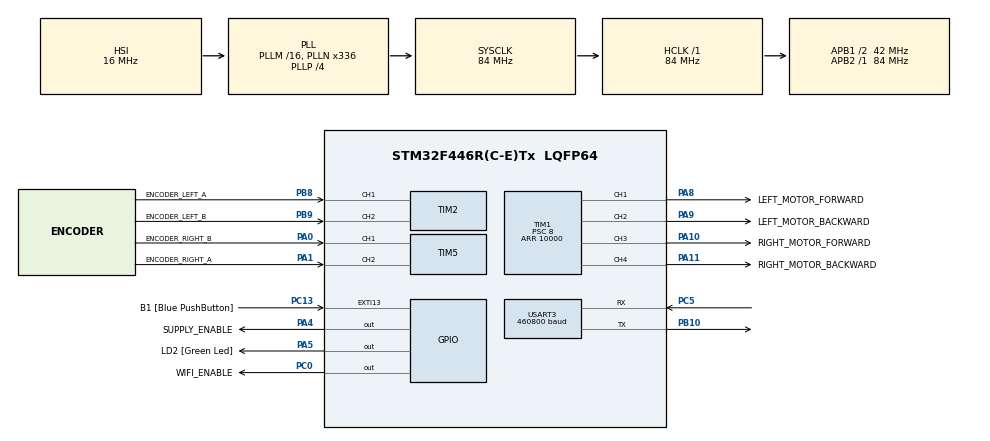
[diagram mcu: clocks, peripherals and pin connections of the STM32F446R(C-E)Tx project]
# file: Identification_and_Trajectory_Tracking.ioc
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Mcu.Family=STM32F4
Mcu.Name=STM32F446R(C-E)Tx
Mcu.Package=LQFP64
NVIC.PriorityGroup=NVIC_PRIORITYGROUP_4
NVIC.TIM3_IRQn=true\:0\:0\:false\:false\:true\:true\:true
PA0-WKUP.GPIO_Label=ENCODER_RIGHT_B
PA0-WKUP.Signal=S_TIM5_CH1
PA1.GPIO_Label=ENCODER_RIGHT_A
PA1.Signal=S_TIM5_CH2
PA10.GPIO_Label=RIGHT_MOTOR_FORWARD
PA10.Signal=S_TIM1_CH3
PA11.GPIO_Label=RIGHT_MOTOR_BACKWARD
PA11.Signal=S_TIM1_CH4
PA13.GPIO_Label=TMS
PA13.Mode=Serial_Wire
PA13.Signal=SYS_JTMS-SWDIO
PA14.GPIO_Label=TCK
PA14.Mode=Serial_Wire
PA14.Signal=SYS_JTCK-SWCLK
PA15.Signal=UART4_RTS
PA2.GPIO_Label=USART_TX
PA2.Signal=USART2_TX
PA3.GPIO_Label=USART_RX
PA3.Signal=USART2_RX
PA4.GPIO_Label=SUPPLY_ENABLE
PA4.GPIO_PuPd=GPIO_NOPULL
PA4.Signal=GPIO_Output
PA5.GPIO_Label=LD2 [Green Led]
PA5.Signal=GPIO_Output
PA8.GPIO_Label=LEFT_MOTOR_FORWARD
PA8.Signal=S_TIM1_CH1
PA9.GPIO_Label=LEFT_MOTOR_BACKWARD
PA9.Signal=S_TIM1_CH2
PB10.Mode=Asynchronous
PB10.Signal=USART3_TX
PB3.GPIO_Label=SWO
PB3.Signal=SYS_JTDO-SWO
PB8.GPIO_Label=ENCODER_LEFT_A
PB8.Signal=S_TIM2_CH1_ETR
PB9.GPIO_Label=ENCODER_LEFT_B
PB9.Signal=S_TIM2_CH2
PC0.GPIO_Label=WIFI_ENABLE
PC0.Signal=GPIO_Output
PC13.GPIO_Label=B1 [Blue PushButton]
PC13.GPIO_ModeDefaultEXTI=GPIO_MODE_IT_FALLING
PC13.Signal=GPXTI13
PC14-OSC32_IN.Mode=LSE-External-Oscillator
PC14-OSC32_IN.Signal=RCC_OSC32_IN
PC15-OSC32_OUT.Mode=LSE-External-Oscillator
PC15-OSC32_OUT.Signal=RCC_OSC32_OUT
PC5.Mode=Asynchronous
PC5.Signal=USART3_RX
PH0-OSC_IN.Mode=HSE-External-Oscillator
PH0-OSC_IN.Signal=RCC_OSC_IN
PH1-OSC_OUT.Mode=HSE-External-Oscillator
PH1-OSC_OUT.Signal=RCC_OSC_OUT
ProjectManager.HeapSize=0x200
ProjectManager.StackSize=0x400
ProjectManager.TargetToolchain=STM32CubeIDE
RCC.48MHZClocksFreq_Value=84000000
RCC.AHBFreq_Value=84000000
RCC.APB1CLKDivider=RCC_HCLK_DIV2
RCC.APB1Freq_Value=42000000
RCC.APB1TimFreq_Value=84000000
RCC.APB2Freq_Value=84000000
RCC.APB2TimFreq_Value=84000000
RCC.CortexFreq_Value=84000000
RCC.FLatency-AdvancedSettings=FLASH_LATENCY_2
RCC.HCLKFreq_Value=84000000
RCC.HSE_VALUE=8000000
RCC.HSI_VALUE=16000000
RCC.PLLN=336
RCC.PLLP=RCC_PLLP_DIV4
RCC.SYSCLKFreq_VALUE=84000000
RCC.SYSCLKSource=RCC_SYSCLKSOURCE_PLLCLK
RCC.USBFreq_Value=168000000
RCC.VCOOutputFreq_Value=336000000
SH.S_TIM1_CH1.0=TIM1_CH1,PWM Generation1 CH1
SH.S_TIM1_CH2.0=TIM1_CH2,PWM Generation2 CH2
SH.S_TIM1_CH3.0=TIM1_CH3,PWM Generation3 CH3
SH.S_TIM1_CH4.0=TIM1_CH4,PWM Generation4 CH4
SH.S_TIM2_CH1_ETR.0=TIM2_CH1,Encoder_Interface
SH.S_TIM2_CH2.0=TIM2_CH2,Encoder_Interface
SH.S_TIM5_CH1.0=TIM5_CH1,Encoder_Interface
SH.S_TIM5_CH2.0=TIM5_CH2,Encoder_Interface
TIM1.Channel-PWM\ Generation1\ CH1=TIM_CHANNEL_1
TIM1.Channel-PWM\ Generation2\ CH2=TIM_CHANNEL_2
TIM1.Channel-PWM\ Generation3\ CH3=TIM_CHANNEL_3
TIM1.Channel-PWM\ Generation4\ CH4=TIM_CHANNEL_4
TIM1.Period=10000
TIM1.Prescaler=8
TIM2.EncoderMode=TIM_ENCODERMODE_TI1
TIM2.IC1Filter=15
TIM2.IC2Filter=15
TIM3.Period=1000-1
TIM3.Prescaler=840-1
TIM5.EncoderMode=TIM_ENCODERMODE_TI1
TIM5.IC1Filter=15
TIM5.IC2Filter=15
USART3.BaudRate=460800
USART3.VirtualMode=VM_ASYNC
VP_TIM3_VS_ClockSourceINT.Mode=Internal
board=NUCLEO-F446RE

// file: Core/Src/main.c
/* USER CODE BEGIN Header */
/**
  ******************************************************************************
  * @file           : main.c
  * @brief          : Main program body
  ******************************************************************************
  * @attention
  *
  * <h2><center>&copy; Copyright (c) 2021 STMicroelectronics.
  * All rights reserved.</center></h2>
  *
  * This software component is licensed by ST under BSD 3-Clause license,
  * the "License"; You may not use this file except in compliance with the
  * License. You may obtain a copy of the License at:
  *                        opensource.org/licenses/BSD-3-Clause
  *
  ******************************************************************************
  */
/* USER CODE END Header */
#include "main.h"

/* USER CODE BEGIN Includes */

#include "my_lib/differential_drive.h"
#include "my_lib/datastream.h"

#include "my_data/control_parameters.h"
#include "my_data/diffdrive_parameters.h"
#include "my_data/idinput.h"
#include "my_data/reference.h"

#include <stdio.h>
#include <stdlib.h>

/* USER CODE END Includes */

/* USER CODE BEGIN PD */

/* ---------------------------------------------------------------------------*/

/* USER CODE END PD */

TIM_HandleTypeDef htim1;
TIM_HandleTypeDef htim2;
TIM_HandleTypeDef htim3;
TIM_HandleTypeDef htim5;

UART_HandleTypeDef huart3;

/* USER CODE BEGIN PV */

// Handles

DIFFDRIVE_HandleTypeDef hdiffdrive;
DATASTREAM_HandleTypeDef hstream;

/* USER CODE END PV */

void SystemClock_Config(void);
static void MX_GPIO_Init(void);
static void MX_TIM2_Init(void);
static void MX_TIM1_Init(void);
static void MX_TIM3_Init(void);
static void MX_TIM5_Init(void);
static void MX_USART3_UART_Init(void);
/* USER CODE BEGIN PFP */

static void MAIN_DATASTREAM_Init(void);
static void MAIN_DIFFDRIVE_Init(void);

/* USER CODE END PFP */

int main(void)
{

  /* MCU Configuration--------------------------------------------------------*/

  /* Reset of all peripherals, Initializes the Flash interface and the Systick. */
  HAL_Init();

  /* Configure the system clock */
  SystemClock_Config();

  /* Initialize all configured peripherals */
  MX_GPIO_Init();
  MX_TIM2_Init();
  MX_TIM1_Init();
  MX_TIM3_Init();
  MX_TIM5_Init();
  MX_USART3_UART_Init();
  /* USER CODE BEGIN 2 */

  MAIN_DATASTREAM_Init();
  MAIN_DIFFDRIVE_Init();

  // HAL_TIM_Base_Start_IT(&htim3);

  /* USER CODE END 2 */

  /* Infinite loop */
  /* USER CODE BEGIN WHILE */

  // Wait until the blue button is pressed
  while( HAL_GPIO_ReadPin(B1_GPIO_Port, B1_Pin) )
	  __NOP();

  // Enabling motion
  bool motion_flag= true;

  HAL_Delay(1000);

  while (1)
  {

	  if( motion_flag ){

#ifdef TRAJECTORY_TRACKING

		  // Start control
		  DIFFDRIVE_TrackingStart();
		  // Tracking a target trajectory (Array of N sample)
		  DIFFDRIVE_TrackingArray(N_SAMPLE_REF, V_REF, OM_REF);
		  // Stop differential drive
		  DIFFDRIVE_TrackingStop();

#else
#ifdef IDENTIFICATION

			// Declaring array of float' pointers
			float *input[2];

#ifdef SMOOTH_INPUT

			// Assigning signals
			input[left] = SMOOTH_INPUT_L;
			input[right] = SMOOTH_INPUT_R;

#else
#ifdef TRIANGLE_INPUT

			// Assigning signals
			input[left] = TRANGLE_INPUT_L;
			input[right] = TRANGLE_INPUT_R;

#endif /*  SMOOTH_INPUT  */
#endif /* TRIANGLE_INPUT */

			// Move differential drive
			DIFFDRIVE_InputArray(N_SAMPLE_ID, input);

#endif /*   IDENTIFICATION  	  */
#endif /* TRAJECTORY_TRACKING */

		// Stop motion
		motion_flag= false;

	} // Motion disabled to send data
	else{

		// Start sending values Task if blue button is pressed
		if( !HAL_GPIO_ReadPin(B1_GPIO_Port, B1_Pin) ){

			// Enable WIFI to send/receive values
			HAL_GPIO_WritePin(WIFI_ENABLE_GPIO_Port, WIFI_ENABLE_Pin, GPIO_PIN_SET);

			// Wait for ESP boot
			HAL_Delay(3000);

			// Rapidly flash led to show MCU ready to send values
			for(int i=0; i<20; i++){
				HAL_GPIO_TogglePin(LD2_GPIO_Port, LD2_Pin);
				HAL_Delay(50);
			}

			// Wait for 10 received chars
			char ch[10];
			HAL_UART_Receive(&huart3, (uint8_t*) ch, sizeof(ch), HAL_MAX_DELAY);

			// LED on
			HAL_GPIO_WritePin(LD2_GPIO_Port, LD2_Pin, GPIO_PIN_SET);

			// Wait a bit more
			HAL_Delay(3000);

			// LED off
			HAL_GPIO_WritePin(LD2_GPIO_Port, LD2_Pin, GPIO_PIN_RESET);

			// History struct
			DIFFDRIVE_HISTORY_TypeDef tmphist= hdiffdrive.history;

			// Number of saved samples
			int N_sample;
			if( tmphist.sample_cnt < tmphist.max_sample )
				N_sample=  tmphist.sample_cnt;
			else
				N_sample=  tmphist.max_sample;

			// First values send is the actual number of samples
			DATASTREAM_Print(&hstream, int_csv, 1, N_sample);
			// Bit of transfer delay
			HAL_Delay(8);

			// Init History Get function
			DIFFDRIVE_HISTORY_Get_Init();

			for(int k= 0; k < N_sample; k++){
				// Temporary variables
				DIFFDRIVE_STATE_TypeDef state_measure, state_target;

				// Get one state sample from history
				DIFFDRIVE_HISTORY_Get_Sample(&state_measure, &state_target);

				// Send values to serial connected to ESP WiFi module
				DATASTREAM_Print(
						&hstream, float_csv, 18,
						state_measure.input[left], state_measure.input[right],
						state_target .input[left], state_target .input[right],
						state_measure.wheel[left], state_measure.wheel[right],
						state_target .wheel[left], state_target .wheel[right],
						state_measure.pose.x_a,    state_measure.pose.y_a,
						state_measure.pose.theta,  state_measure.pose.v,
						state_measure.pose.om,
                        state_target .pose.x_a,    state_target.pose.y_a,
						state_target .pose.theta,  state_target.pose.v,
						state_target .pose.om
				);
				// Bit of transfer delay
				HAL_Delay(8);
				// Toggling led to show data transfer operation
				if( !(k%50) )
					HAL_GPIO_TogglePin(LD2_GPIO_Port, LD2_Pin);
			}

			// Turn off LED
			HAL_GPIO_WritePin(LD2_GPIO_Port, LD2_Pin, GPIO_PIN_RESET);

			// Disable WiFi
			HAL_GPIO_WritePin(WIFI_ENABLE_GPIO_Port, WIFI_ENABLE_Pin, GPIO_PIN_RESET);

		}
	}

    /* USER CODE END WHILE */

  }
}

void SystemClock_Config(void)
{
  RCC_OscInitTypeDef RCC_OscInitStruct = {0};
  RCC_ClkInitTypeDef RCC_ClkInitStruct = {0};

  /** Configure the main internal regulator output voltage
  */
  __HAL_RCC_PWR_CLK_ENABLE();
  __HAL_PWR_VOLTAGESCALING_CONFIG(PWR_REGULATOR_VOLTAGE_SCALE3);
  /** Initializes the RCC Oscillators according to the specified parameters
  * in the RCC_OscInitTypeDef structure.
  */
  RCC_OscInitStruct.OscillatorType = RCC_OSCILLATORTYPE_HSI;
  RCC_OscInitStruct.HSIState = RCC_HSI_ON;
  RCC_OscInitStruct.HSICalibrationValue = RCC_HSICALIBRATION_DEFAULT;
  RCC_OscInitStruct.PLL.PLLState = RCC_PLL_ON;
  RCC_OscInitStruct.PLL.PLLSource = RCC_PLLSOURCE_HSI;
  RCC_OscInitStruct.PLL.PLLM = 16;
  RCC_OscInitStruct.PLL.PLLN = 336;
  RCC_OscInitStruct.PLL.PLLP = RCC_PLLP_DIV4;
  RCC_OscInitStruct.PLL.PLLQ = 2;
  RCC_OscInitStruct.PLL.PLLR = 2;
  if (HAL_RCC_OscConfig(&RCC_OscInitStruct) != HAL_OK)
  {
    Error_Handler();
  }
  /** Initializes the CPU, AHB and APB buses clocks
  */
  RCC_ClkInitStruct.ClockType = RCC_CLOCKTYPE_HCLK|RCC_CLOCKTYPE_SYSCLK
                              |RCC_CLOCKTYPE_PCLK1|RCC_CLOCKTYPE_PCLK2;
  RCC_ClkInitStruct.SYSCLKSource = RCC_SYSCLKSOURCE_PLLCLK;
  RCC_ClkInitStruct.AHBCLKDivider = RCC_SYSCLK_DIV1;
  RCC_ClkInitStruct.APB1CLKDivider = RCC_HCLK_DIV2;
  RCC_ClkInitStruct.APB2CLKDivider = RCC_HCLK_DIV1;

  if (HAL_RCC_ClockConfig(&RCC_ClkInitStruct, FLASH_LATENCY_2) != HAL_OK)
  {
    Error_Handler();
  }
}

static void MX_TIM1_Init(void)
{

  TIM_MasterConfigTypeDef sMasterConfig = {0};
  TIM_OC_InitTypeDef sConfigOC = {0};
  TIM_BreakDeadTimeConfigTypeDef sBreakDeadTimeConfig = {0};

  htim1.Instance = TIM1;
  htim1.Init.Prescaler = 8;
  htim1.Init.CounterMode = TIM_COUNTERMODE_UP;
  htim1.Init.Period = 10000;
  htim1.Init.ClockDivision = TIM_CLOCKDIVISION_DIV1;
  htim1.Init.RepetitionCounter = 0;
  htim1.Init.AutoReloadPreload = TIM_AUTORELOAD_PRELOAD_DISABLE;
  if (HAL_TIM_PWM_Init(&htim1) != HAL_OK)
  {
    Error_Handler();
  }
  sMasterConfig.MasterOutputTrigger = TIM_TRGO_RESET;
  sMasterConfig.MasterSlaveMode = TIM_MASTERSLAVEMODE_DISABLE;
  if (HAL_TIMEx_MasterConfigSynchronization(&htim1, &sMasterConfig) != HAL_OK)
  {
    Error_Handler();
  }
  sConfigOC.OCMode = TIM_OCMODE_PWM1;
  sConfigOC.Pulse = 0;
  sConfigOC.OCPolarity = TIM_OCPOLARITY_HIGH;
  sConfigOC.OCNPolarity = TIM_OCNPOLARITY_HIGH;
  sConfigOC.OCFastMode = TIM_OCFAST_DISABLE;
  sConfigOC.OCIdleState = TIM_OCIDLESTATE_RESET;
  sConfigOC.OCNIdleState = TIM_OCNIDLESTATE_RESET;
  if (HAL_TIM_PWM_ConfigChannel(&htim1, &sConfigOC, TIM_CHANNEL_1) != HAL_OK)
  {
    Error_Handler();
  }
  if (HAL_TIM_PWM_ConfigChannel(&htim1, &sConfigOC, TIM_CHANNEL_2) != HAL_OK)
  {
    Error_Handler();
  }
  if (HAL_TIM_PWM_ConfigChannel(&htim1, &sConfigOC, TIM_CHANNEL_3) != HAL_OK)
  {
    Error_Handler();
  }
  if (HAL_TIM_PWM_ConfigChannel(&htim1, &sConfigOC, TIM_CHANNEL_4) != HAL_OK)
  {
    Error_Handler();
  }
  sBreakDeadTimeConfig.OffStateRunMode = TIM_OSSR_DISABLE;
  sBreakDeadTimeConfig.OffStateIDLEMode = TIM_OSSI_DISABLE;
  sBreakDeadTimeConfig.LockLevel = TIM_LOCKLEVEL_OFF;
  sBreakDeadTimeConfig.DeadTime = 0;
  sBreakDeadTimeConfig.BreakState = TIM_BREAK_DISABLE;
  sBreakDeadTimeConfig.BreakPolarity = TIM_BREAKPOLARITY_HIGH;
  sBreakDeadTimeConfig.AutomaticOutput = TIM_AUTOMATICOUTPUT_DISABLE;
  if (HAL_TIMEx_ConfigBreakDeadTime(&htim1, &sBreakDeadTimeConfig) != HAL_OK)
  {
    Error_Handler();
  }
  HAL_TIM_MspPostInit(&htim1);

}

static void MX_TIM2_Init(void)
{

  TIM_Encoder_InitTypeDef sConfig = {0};
  TIM_MasterConfigTypeDef sMasterConfig = {0};

  htim2.Instance = TIM2;
  htim2.Init.Prescaler = 0;
  htim2.Init.CounterMode = TIM_COUNTERMODE_UP;
  htim2.Init.Period = 4294967295;
  htim2.Init.ClockDivision = TIM_CLOCKDIVISION_DIV1;
  htim2.Init.AutoReloadPreload = TIM_AUTORELOAD_PRELOAD_DISABLE;
  sConfig.EncoderMode = TIM_ENCODERMODE_TI1;
  sConfig.IC1Polarity = TIM_ICPOLARITY_RISING;
  sConfig.IC1Selection = TIM_ICSELECTION_DIRECTTI;
  sConfig.IC1Prescaler = TIM_ICPSC_DIV1;
  sConfig.IC1Filter = 15;
  sConfig.IC2Polarity = TIM_ICPOLARITY_RISING;
  sConfig.IC2Selection = TIM_ICSELECTION_DIRECTTI;
  sConfig.IC2Prescaler = TIM_ICPSC_DIV1;
  sConfig.IC2Filter = 15;
  if (HAL_TIM_Encoder_Init(&htim2, &sConfig) != HAL_OK)
  {
    Error_Handler();
  }
  sMasterConfig.MasterOutputTrigger = TIM_TRGO_RESET;
  sMasterConfig.MasterSlaveMode = TIM_MASTERSLAVEMODE_DISABLE;
  if (HAL_TIMEx_MasterConfigSynchronization(&htim2, &sMasterConfig) != HAL_OK)
  {
    Error_Handler();
  }

}

static void MX_TIM3_Init(void)
{

  TIM_ClockConfigTypeDef sClockSourceConfig = {0};
  TIM_MasterConfigTypeDef sMasterConfig = {0};

  htim3.Instance = TIM3;
  htim3.Init.Prescaler = 840-1;
  htim3.Init.CounterMode = TIM_COUNTERMODE_UP;
  htim3.Init.Period = 1000-1;
  htim3.Init.ClockDivision = TIM_CLOCKDIVISION_DIV1;
  htim3.Init.AutoReloadPreload = TIM_AUTORELOAD_PRELOAD_DISABLE;
  if (HAL_TIM_Base_Init(&htim3) != HAL_OK)
  {
    Error_Handler();
  }
  sClockSourceConfig.ClockSource = TIM_CLOCKSOURCE_INTERNAL;
  if (HAL_TIM_ConfigClockSource(&htim3, &sClockSourceConfig) != HAL_OK)
  {
    Error_Handler();
  }
  sMasterConfig.MasterOutputTrigger = TIM_TRGO_RESET;
  sMasterConfig.MasterSlaveMode = TIM_MASTERSLAVEMODE_DISABLE;
  if (HAL_TIMEx_MasterConfigSynchronization(&htim3, &sMasterConfig) != HAL_OK)
  {
    Error_Handler();
  }

}

static void MX_TIM5_Init(void)
{

  TIM_Encoder_InitTypeDef sConfig = {0};
  TIM_MasterConfigTypeDef sMasterConfig = {0};

  htim5.Instance = TIM5;
  htim5.Init.Prescaler = 0;
  htim5.Init.CounterMode = TIM_COUNTERMODE_UP;
  htim5.Init.Period = 4294967295;
  htim5.Init.ClockDivision = TIM_CLOCKDIVISION_DIV1;
  htim5.Init.AutoReloadPreload = TIM_AUTORELOAD_PRELOAD_DISABLE;
  sConfig.EncoderMode = TIM_ENCODERMODE_TI1;
  sConfig.IC1Polarity = TIM_ICPOLARITY_RISING;
  sConfig.IC1Selection = TIM_ICSELECTION_DIRECTTI;
  sConfig.IC1Prescaler = TIM_ICPSC_DIV1;
  sConfig.IC1Filter = 15;
  sConfig.IC2Polarity = TIM_ICPOLARITY_RISING;
  sConfig.IC2Selection = TIM_ICSELECTION_DIRECTTI;
  sConfig.IC2Prescaler = TIM_ICPSC_DIV1;
  sConfig.IC2Filter = 15;
  if (HAL_TIM_Encoder_Init(&htim5, &sConfig) != HAL_OK)
  {
    Error_Handler();
  }
  sMasterConfig.MasterOutputTrigger = TIM_TRGO_RESET;
  sMasterConfig.MasterSlaveMode = TIM_MASTERSLAVEMODE_DISABLE;
  if (HAL_TIMEx_MasterConfigSynchronization(&htim5, &sMasterConfig) != HAL_OK)
  {
    Error_Handler();
  }

}

static void MX_USART3_UART_Init(void)
{

  huart3.Instance = USART3;
  huart3.Init.BaudRate = 460800;
  huart3.Init.WordLength = UART_WORDLENGTH_8B;
  huart3.Init.StopBits = UART_STOPBITS_1;
  huart3.Init.Parity = UART_PARITY_NONE;
  huart3.Init.Mode = UART_MODE_TX_RX;
  huart3.Init.HwFlowCtl = UART_HWCONTROL_NONE;
  huart3.Init.OverSampling = UART_OVERSAMPLING_16;
  if (HAL_UART_Init(&huart3) != HAL_OK)
  {
    Error_Handler();
  }

}

static void MX_GPIO_Init(void)
{
  GPIO_InitTypeDef GPIO_InitStruct = {0};

  /* GPIO Ports Clock Enable */
  __HAL_RCC_GPIOC_CLK_ENABLE();
  __HAL_RCC_GPIOH_CLK_ENABLE();
  __HAL_RCC_GPIOA_CLK_ENABLE();
  __HAL_RCC_GPIOB_CLK_ENABLE();

  /*Configure GPIO pin Output Level */
  HAL_GPIO_WritePin(WIFI_ENABLE_GPIO_Port, WIFI_ENABLE_Pin, GPIO_PIN_RESET);

  /*Configure GPIO pin Output Level */
  HAL_GPIO_WritePin(GPIOA, SUPPLY_ENABLE_Pin|LD2_Pin, GPIO_PIN_RESET);

  /*Configure GPIO pin : B1_Pin */
  GPIO_InitStruct.Pin = B1_Pin;
  GPIO_InitStruct.Mode = GPIO_MODE_IT_FALLING;
  GPIO_InitStruct.Pull = GPIO_NOPULL;
  HAL_GPIO_Init(B1_GPIO_Port, &GPIO_InitStruct);

  /*Configure GPIO pin : WIFI_ENABLE_Pin */
  GPIO_InitStruct.Pin = WIFI_ENABLE_Pin;
  GPIO_InitStruct.Mode = GPIO_MODE_OUTPUT_PP;
  GPIO_InitStruct.Pull = GPIO_NOPULL;
  GPIO_InitStruct.Speed = GPIO_SPEED_FREQ_LOW;
  HAL_GPIO_Init(WIFI_ENABLE_GPIO_Port, &GPIO_InitStruct);

  /*Configure GPIO pins : USART_TX_Pin USART_RX_Pin */
  GPIO_InitStruct.Pin = USART_TX_Pin|USART_RX_Pin;
  GPIO_InitStruct.Mode = GPIO_MODE_AF_PP;
  GPIO_InitStruct.Pull = GPIO_NOPULL;
  GPIO_InitStruct.Speed = GPIO_SPEED_FREQ_VERY_HIGH;
  GPIO_InitStruct.Alternate = GPIO_AF7_USART2;
  HAL_GPIO_Init(GPIOA, &GPIO_InitStruct);

  /*Configure GPIO pins : SUPPLY_ENABLE_Pin LD2_Pin */
  GPIO_InitStruct.Pin = SUPPLY_ENABLE_Pin|LD2_Pin;
  GPIO_InitStruct.Mode = GPIO_MODE_OUTPUT_PP;
  GPIO_InitStruct.Pull = GPIO_NOPULL;
  GPIO_InitStruct.Speed = GPIO_SPEED_FREQ_LOW;
  HAL_GPIO_Init(GPIOA, &GPIO_InitStruct);

  /*Configure GPIO pin : PA15 */
  GPIO_InitStruct.Pin = GPIO_PIN_15;
  GPIO_InitStruct.Mode = GPIO_MODE_AF_PP;
  GPIO_InitStruct.Pull = GPIO_NOPULL;
  GPIO_InitStruct.Speed = GPIO_SPEED_FREQ_VERY_HIGH;
  GPIO_InitStruct.Alternate = GPIO_AF8_UART4;
  HAL_GPIO_Init(GPIOA, &GPIO_InitStruct);

}

/* USER CODE BEGIN 4 */

static void MAIN_DIFFDRIVE_Init(void){

	uint16_t max_sample= 1200u;

	hdiffdrive.Init.timing_htim= &htim3;
	hdiffdrive.Init.timing_time_step= TIME_STEP;

	hdiffdrive.Init.encoder_htim[left ]= &htim2;
	hdiffdrive.Init.encoder_htim[right]= &htim5;
	hdiffdrive.Init.encoder_tim_channel[left ]= TIM_CHANNEL_1;
	hdiffdrive.Init.encoder_tim_channel[right]= TIM_CHANNEL_1;
	hdiffdrive.Init.encoder_tim_arr_resolution[left ]= 32;
	hdiffdrive.Init.encoder_tim_arr_resolution[right]= 32;

	hdiffdrive.Init.encoder_resolution[left ]= 1900; //1920; // Number of step each wheel revolution
	hdiffdrive.Init.encoder_resolution[right]= 1900; //1920;

	hdiffdrive.Init.motor_htim[left ][forward ]= &htim1;
	hdiffdrive.Init.motor_htim[left ][backward]= &htim1;
	hdiffdrive.Init.motor_htim[right][forward ]= &htim1;
	hdiffdrive.Init.motor_htim[right][backward]= &htim1;

	hdiffdrive.Init.motor_pwm_channel[left ][forward ]= TIM_CHANNEL_1;
	hdiffdrive.Init.motor_pwm_channel[left ][backward]= TIM_CHANNEL_2;
	hdiffdrive.Init.motor_pwm_channel[right][forward ]= TIM_CHANNEL_3;
	hdiffdrive.Init.motor_pwm_channel[right][backward]= TIM_CHANNEL_4;

	hdiffdrive.Init.motor_max_voltage[left ]= 	 MOTOR_MAX_VOLTAGE;
	hdiffdrive.Init.motor_max_voltage[right]= 	 MOTOR_MAX_VOLTAGE;
	hdiffdrive.Init.motor_min_voltage[left ]= 	 MOTOR_MIN_VOLTAGE;
	hdiffdrive.Init.motor_min_voltage[right]= 	 MOTOR_MIN_VOLTAGE;
	hdiffdrive.Init.motor_supply_voltage[left]=  SUPPLY_VOLTAGE;
	hdiffdrive.Init.motor_supply_voltage[right]= SUPPLY_VOLTAGE;

	hdiffdrive.Init.control_fdfrwrd_arma_AR[left ]= AR_L;
	hdiffdrive.Init.control_fdfrwrd_arma_AR[right]= AR_R;
	hdiffdrive.Init.control_fdfrwrd_arma_MA[left ]= MA_L;
	hdiffdrive.Init.control_fdfrwrd_arma_MA[right]= MA_R;
	hdiffdrive.Init.control_fdfrwrd_arma_n_ar[left ]= N_AR_L;
	hdiffdrive.Init.control_fdfrwrd_arma_n_ar[right]= N_AR_R;
	hdiffdrive.Init.control_fdfrwrd_arma_n_ma[left ]= N_MA_L;
	hdiffdrive.Init.control_fdfrwrd_arma_n_ma[right]= N_MA_R;
	hdiffdrive.Init.control_fdfrwrd_arma_tau[left ]= TAU_L;
	hdiffdrive.Init.control_fdfrwrd_arma_tau[right]= TAU_R;

	hdiffdrive.Init.control_pid_P[left ]= PID_P_L;
	hdiffdrive.Init.control_pid_P[right]= PID_P_R;
	hdiffdrive.Init.control_pid_I[left ]= PID_I_L;
	hdiffdrive.Init.control_pid_I[right]= PID_I_R;
	hdiffdrive.Init.control_pid_D[left ]= PID_D_L;
	hdiffdrive.Init.control_pid_D[right]= PID_D_R;

	hdiffdrive.Init.history_max_sample= max_sample;

	// --- Mechanical parameters (from real model) --- //
	hdiffdrive.Init.mech_prmtr_l= WHEEL_DISTANCE;
	hdiffdrive.Init.mech_prmtr_r= WHEEL_RADIUS;
	hdiffdrive.Init.mech_prmtr_max_wheel_speed= WHEEL_MAX_SPEED;

	// --- Initialize handle --- //
	DIFFDRIVE_Init(&hdiffdrive);

}

static void MAIN_DATASTREAM_Init(){

	DATASTREAM_InitTypeDef DATASTREAM_InitStruct;

	DATASTREAM_InitStruct.DMA_Rx_Enable= false;
	DATASTREAM_InitStruct.huart= &huart3;

	hstream.Init= DATASTREAM_InitStruct;

	DATASTREAM_Init(&hstream);

}

/* USER CODE END 4 */

void Error_Handler(void)
{
  __disable_irq();
  while (1)
  {
  }
}

/************************ (C) COPYRIGHT STMicroelectronics *****END OF FILE****/
